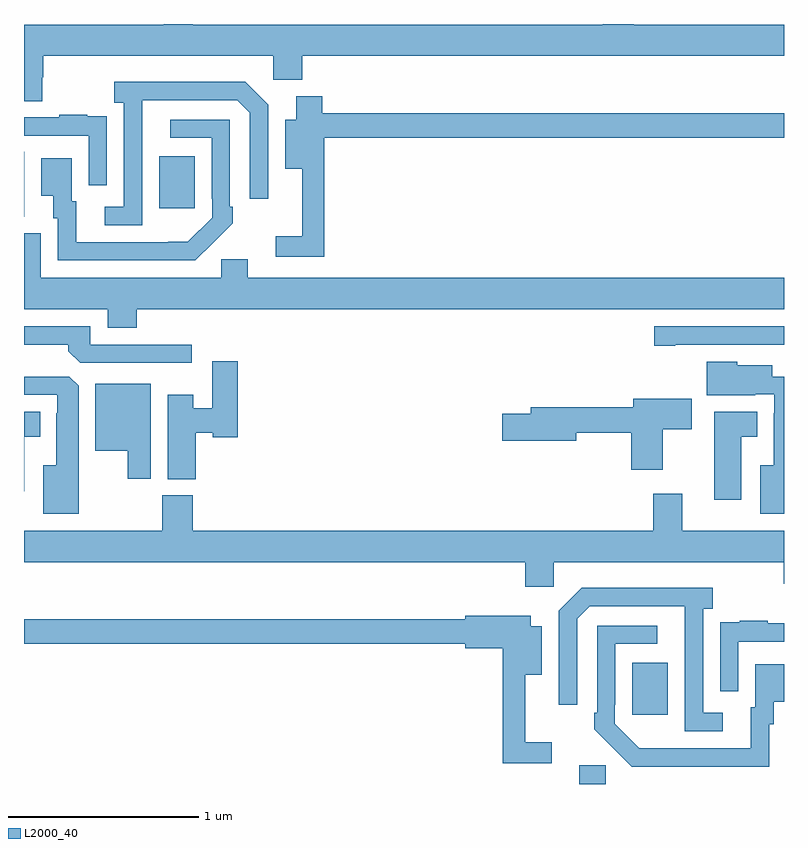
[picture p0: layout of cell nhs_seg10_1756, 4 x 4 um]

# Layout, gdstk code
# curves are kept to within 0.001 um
import gdstk
lib = gdstk.Library(unit=1e-6, precision=1e-09)
def R(c, l, rs):  # rectangles x0, y0, x1, y1
    for r in rs: c.add(gdstk.rectangle(r[:2], r[2:], *l))
def P(c, l, *ps):  # polygons
    for p in ps: c.add(gdstk.Polygon(p, *l))
L2000_40 = (2000, 40)

nhs_seg10_1756 = lib.new_cell('nhs_seg10_1756')
R(nhs_seg10_1756, L2000_40, [(205.922,1280.5,206.061,1280.598), (206.201,1280.865,206.389,1281.139), (203,1283.485,203.002,1283.828), (203.711,1283.529,203.899,1283.803)])
P(nhs_seg10_1756, L2000_40, [(203.097,1284.219),(203.102,1284.219),(203.102,1284.332),(204.312,1284.332),(204.312,1284.206),(204.464,1284.206),(204.464,1284.332),(207,1284.332),(207,1284.496),(206.21,1284.496),(206.21,1284.5),(206.045,1284.5),(206.045,1284.496),(203.888,1284.496),(203.888,1284.5),(203.735,1284.5),(203.735,1284.496),(203,1284.496),(203,1284.094),(203.097,1284.094)],
  [(203.622,1283.899),(203.623,1284.099),(204.123,1284.099),(204.189,1284.033),(204.189,1283.58),(204.285,1283.58),(204.285,1284.075),(204.164,1284.196),(203.475,1284.196),(203.475,1284.086),(203.526,1284.086),(203.526,1283.538),(203.424,1283.538),(203.424,1283.442),(203.622,1283.442)],
  [(204.581,1283.902),(207,1283.902),(207,1284.031),(204.569,1284.031),(204.569,1284.121),(204.434,1284.121),(204.434,1283.995),(204.374,1283.995),(204.374,1283.738),(204.464,1283.738),(204.464,1283.383),(204.324,1283.383),(204.324,1283.274),(204.581,1283.274)],
  [(203.436,1283.906),(203.435,1283.906),(203.435,1284.015),(203.333,1284.015),(203.333,1284.022),(203.185,1284.022),(203.185,1284.009),(203,1284.009),(203,1283.913),(203.34,1283.913),(203.34,1283.652),(203.436,1283.652)],
  [(203.993,1283.347),(203.994,1283.346),(204.099,1283.451),(204.099,1283.539),(204.084,1283.539),(204.084,1283.997),(203.769,1283.997),(203.769,1283.901),(203.988,1283.901),(203.988,1283.581),(203.991,1283.581),(203.991,1283.481),(203.863,1283.353),(203.275,1283.352),(203.275,1283.568),(203.251,1283.568),(203.251,1283.794),(203.09,1283.794),(203.09,1283.597),(203.153,1283.597),(203.153,1283.478),(203.178,1283.478),(203.178,1283.256),(203.902,1283.256)],
  [(203.594,1283),(207,1283),(207,1283.164),(204.178,1283.164),(204.178,1283.262),(204.039,1283.262),(204.039,1283.164),(203.089,1283.164),(203.089,1283.4),(203,1283.4),(203,1283),(203.441,1283),(203.441,1282.901),(203.594,1282.901)],
  [(203.884,1282.812),(203.349,1282.812),(203.349,1282.908),(203,1282.908),(203,1282.812),(203.234,1282.812),(203.234,1282.778),(203.295,1282.716),(203.884,1282.716)],
  [(206.428,1282.812),(207,1282.812),(207,1282.908),(206.316,1282.908),(206.316,1282.807),(206.428,1282.807)],
  [(203.903,1282.348),(203.994,1282.348),(203.994,1282.325),(204.125,1282.325),(204.125,1282.726),(203.99,1282.726),(203.99,1282.477),(203.89,1282.477),(203.89,1282.549),(203.756,1282.549),(203.756,1282.105),(203.903,1282.105)],
  [(207,1282.644),(206.938,1282.644),(206.938,1282.705),(206.754,1282.705),(206.754,1282.723),(206.594,1282.723),(206.594,1282.547),(206.849,1282.547),(206.849,1282.551),(206.949,1282.551),(206.949,1282.451),(206.945,1282.451),(206.945,1282.177),(206.876,1282.177),(206.876,1281.923),(207,1281.923)],
  [(203.287,1282.595),(203.238,1282.644),(203,1282.644),(203,1282.548),(203.175,1282.548),(203.175,1282.451),(203.171,1282.451),(203.171,1282.177),(203.102,1282.177),(203.102,1281.923),(203.287,1281.923)],
  [(203.668,1282.606),(203.375,1282.606),(203.375,1282.253),(203.546,1282.253),(203.546,1282.107),(203.668,1282.107)],
  [(206.362,1282.366),(206.515,1282.366),(206.515,1282.528),(206.207,1282.528),(206.207,1282.484),(205.667,1282.484),(205.667,1282.448),(205.518,1282.448),(205.518,1282.306),(205.906,1282.306),(205.906,1282.348),(206.195,1282.348),(206.195,1282.155),(206.362,1282.155)],
  [(206.776,1282.328),(206.86,1282.328),(206.86,1282.459),(206.633,1282.459),(206.633,1281.996),(206.776,1281.996)],
  [(203.002,1282.328),(203.086,1282.328),(203.086,1282.459),(203,1282.459),(203,1282.041),(203.002,1282.041)],
  [(205.788,1281.668),(206.999,1281.668),(206.999,1281.555),(207,1281.555),(207,1281.832),(206.464,1281.832),(206.464,1282.027),(206.312,1282.027),(206.312,1281.832),(203.888,1281.832),(203.888,1282.02),(203.728,1282.02),(203.728,1281.832),(203,1281.832),(203,1281.668),(205.637,1281.668),(205.637,1281.537),(205.788,1281.537)],
  [(206.677,1280.874),(206.574,1280.874),(206.574,1281.422),(206.626,1281.422),(206.626,1281.532),(205.936,1281.532),(205.815,1281.411),(205.815,1280.916),(205.911,1280.916),(205.911,1281.369),(205.977,1281.435),(206.477,1281.435),(206.478,1280.778),(206.677,1280.778)],
  [(205.777,1280.719),(205.637,1280.719),(205.637,1281.074),(205.726,1281.074),(205.726,1281.331),(205.666,1281.331),(205.666,1281.385),(205.322,1281.385),(205.322,1281.367),(203,1281.367),(203,1281.238),(205.322,1281.238),(205.322,1281.215),(205.519,1281.215),(205.519,1280.61),(205.777,1280.61)],
  [(206.76,1281.249),(207,1281.249),(207,1281.345),(206.915,1281.345),(206.915,1281.358),(206.767,1281.358),(206.767,1281.351),(206.665,1281.351),(206.665,1281.242),(206.664,1281.242),(206.664,1280.988),(206.76,1280.988)],
  [(206.922,1280.814),(206.947,1280.814),(206.947,1280.933),(207,1280.933),(207,1281.13),(206.849,1281.13),(206.849,1280.904),(206.825,1280.904),(206.825,1280.688),(206.238,1280.689),(206.109,1280.817),(206.109,1280.917),(206.112,1280.917),(206.112,1281.237),(206.332,1281.237),(206.332,1281.333),(206.016,1281.333),(206.016,1280.875),(206.001,1280.875),(206.001,1280.787),(206.198,1280.592),(206.922,1280.592)])

lib.write_gds('nhs_seg10_1756.gds')
